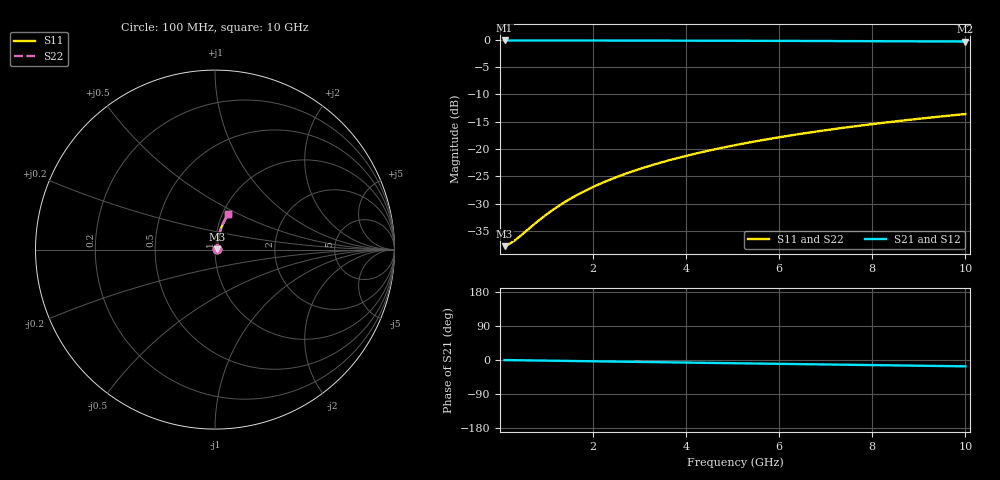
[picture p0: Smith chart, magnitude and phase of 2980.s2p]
# Hz S RI R 50.00
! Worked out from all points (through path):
!   100 points, 100 MHz to 10 GHz, reference 50 ohm
!   highest |S21| = -0.11 dB at 100 MHz (marker M1); lowest = -0.3 dB at 10 GHz (marker M2)
!   group delay of S21, straight-line fit = 4.65 ps
!   lowest |S11| = -37.8 dB at 100 MHz (marker M3), VSWR 1.03, Z = 51.3 + j0.216 ohm
!   |S11| at or under -10 dB: start of sweep to end of sweep
!   |S22| runs from -37.8 to -13.6 dB; largest |S21 - S12| = 0
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1e8  0.0127 0.00211  0.9873 -0.00292  0.9873 -0.00292  0.0127 0.00211
2e8  0.0128 0.00422  0.9872 -0.00584  0.9872 -0.00584  0.0128 0.00422
3e8  0.0129 0.00632  0.9871 -0.00876  0.9871 -0.00876  0.0129 0.00632
4e8  0.013 0.00843  0.987 -0.0117  0.987 -0.0117  0.013 0.00843
9e8  0.0136 0.019  0.9864 -0.0263  0.9864 -0.0263  0.0136 0.019
1.2e9  0.014 0.0253  0.9859 -0.035  0.9859 -0.035  0.014 0.0253
1.5e9  0.0146 0.0315  0.9853 -0.0437  0.9853 -0.0437  0.0146 0.0315
1.8e9  0.0153 0.0378  0.9846 -0.0524  0.9846 -0.0524  0.0153 0.0378
2.1e9  0.016 0.0441  0.9838 -0.0611  0.9838 -0.0611  0.016 0.0441
2.5e9  0.0172 0.0524  0.9825 -0.0727  0.9825 -0.0727  0.0172 0.0524
2.9e9  0.0186 0.0607  0.9811 -0.0843  0.9811 -0.0843  0.0186 0.0607
3.4e9  0.0206 0.071  0.979 -0.0986  0.979 -0.0986  0.0206 0.071
3.8e9  0.0224 0.0792  0.9771 -0.1101  0.9771 -0.1101  0.0224 0.0792
4.2e9  0.0244 0.0873  0.9749 -0.1214  0.9749 -0.1214  0.0244 0.0873
4.6e9  0.0266 0.0953  0.9726 -0.1328  0.9726 -0.1328  0.0266 0.0953
5.1e9  0.0296 0.1053  0.9695 -0.1468  0.9695 -0.1468  0.0296 0.1053
5.9e9  0.035 0.1211  0.9638 -0.1691  0.9638 -0.1691  0.035 0.1211
6.7e9  0.0411 0.1365  0.9574 -0.191  0.9574 -0.191  0.0411 0.1365
7.5e9  0.0478 0.1515  0.9502 -0.2126  0.9502 -0.2126  0.0478 0.1515
8.4e9  0.0562 0.168  0.9414 -0.2364  0.9414 -0.2364  0.0562 0.168
9.2e9  0.0643 0.1821  0.9328 -0.2571  0.9328 -0.2571  0.0643 0.1821
1e10  0.073 0.1958  0.9235 -0.2774  0.9235 -0.2774  0.073 0.1958
